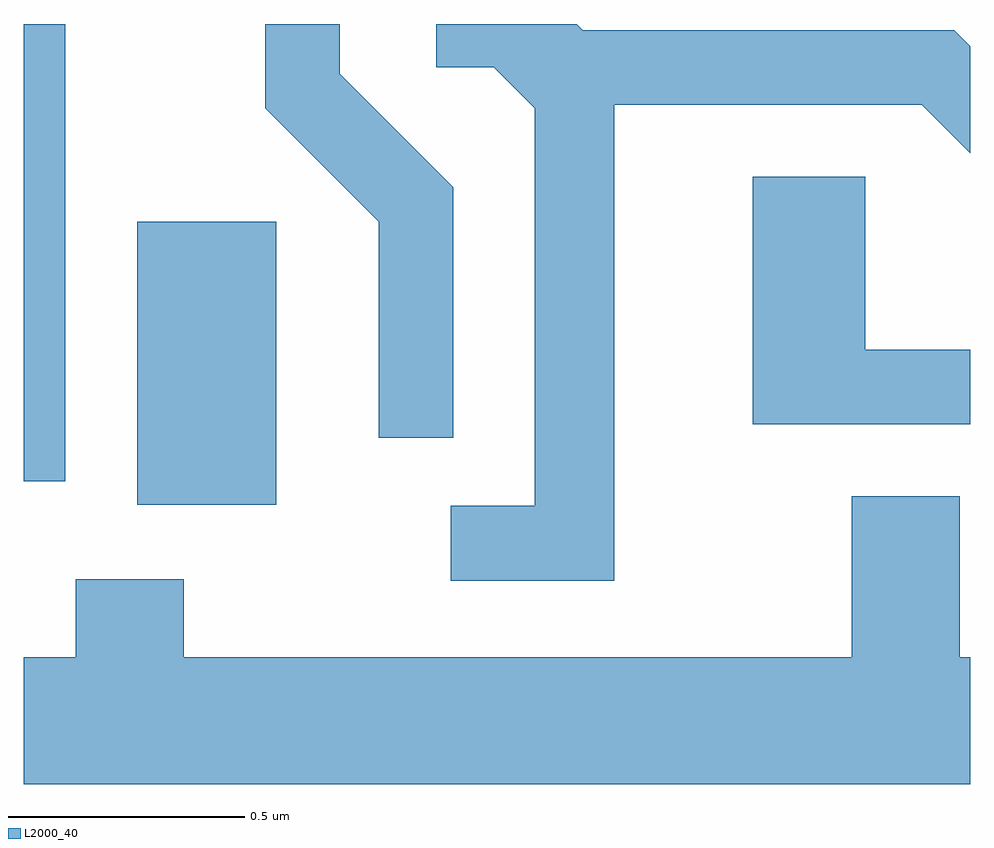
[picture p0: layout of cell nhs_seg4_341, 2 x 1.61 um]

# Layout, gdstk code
import gdstk
lib = gdstk.Library(unit=1e-6, precision=1e-09)
def R(c, l, rs):  # rectangles x0, y0, x1, y1
    for r in rs: c.add(gdstk.rectangle(r[:2], r[2:], *l))
def P(c, l, *ps):  # polygons
    for p in ps: c.add(gdstk.Polygon(p, *l))
L2000_40 = (2000, 40)

nhs_seg4_341 = lib.new_cell('nhs_seg4_341')
R(nhs_seg4_341, L2000_40, [(187.851,1321.966,188.144,1322.564), (187.611,1322.016,187.699,1322.982)])
P(nhs_seg4_341, L2000_40, [(188.859,1322.811),(189.509,1322.811),(189.611,1322.709),(189.611,1322.935),(189.577,1322.969),(188.792,1322.969),(188.779,1322.982),(188.483,1322.982),(188.483,1322.891),(188.604,1322.891),(188.691,1322.804),(188.691,1321.964),(188.513,1321.964),(188.513,1321.806),(188.859,1321.806)],
  [(188.519,1322.637),(188.279,1322.877),(188.279,1322.982),(188.121,1322.982),(188.121,1322.804),(188.361,1322.564),(188.361,1322.108),(188.519,1322.108)],
  [(189.611,1322.294),(189.389,1322.294),(189.389,1322.659),(189.151,1322.659),(189.151,1322.136),(189.611,1322.136)],
  [(189.611,1321.644),(189.589,1321.644),(189.589,1321.984),(189.361,1321.984),(189.361,1321.644),(187.949,1321.644),(187.949,1321.809),(187.721,1321.809),(187.721,1321.644),(187.611,1321.644),(187.611,1321.376),(189.611,1321.376)])

lib.write_gds('nhs_seg4_341.gds')
